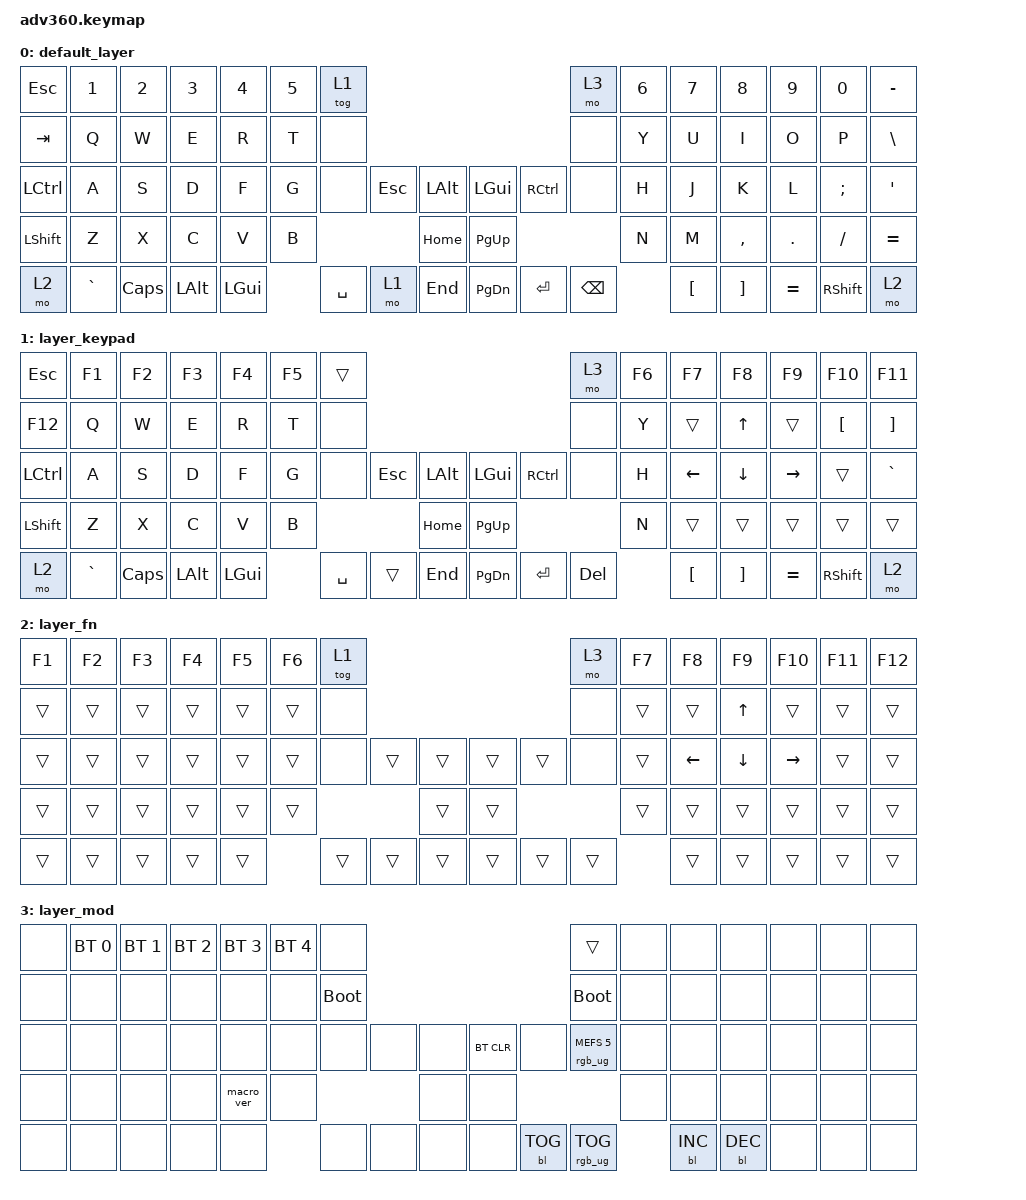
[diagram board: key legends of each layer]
/*
 * Copyright (c) 2020 The ZMK Contributors
 *
 * SPDX-License-Identifier: MIT
 */
/* THIS FILE WAS GENERATED!
 *
 * This file was generated automatically. You may or may not want to
 * edit it directly.
 */

#include <behaviors.dtsi>
#include <dt-bindings/zmk/backlight.h>
#include <dt-bindings/zmk/bt.h>
#include <dt-bindings/zmk/keys.h>
#include <dt-bindings/zmk/rgb.h>

/ {
    behaviors {
        #include "macros.dtsi"
    #include "version.dtsi"

        hm: homerow_mods {
            compatible = "zmk,behavior-hold-tap";
            label = "HOMEROW_MODS";
            #binding-cells = <2>;
            tapping-term-ms = <200>;
            quick_tap_ms = <175>;
            flavor = "tap-preferred";
            bindings = <&kp>, <&kp>;
        };
    };

    keymap {
        compatible = "zmk,keymap";

        default_layer {
            bindings = <
&kp ESCAPE  &kp N1     &kp N2    &kp N3        &kp N4    &kp N5  &tog 1                                                     &mo 3          &kp N6  &kp N7    &kp N8     &kp N9     &kp N0           &kp MINUS
&kp TAB     &kp Q      &kp W     &kp E         &kp R     &kp T   &none                                                      &none          &kp Y   &kp U     &kp I      &kp O      &kp P            &kp BSLH
&kp LCTRL   &kp A      &kp S     &kp D         &kp F     &kp G   &none      &kp ESCAPE  &kp LALT      &kp LGUI   &kp RCTRL  &none          &kp H   &kp J     &kp K      &kp L      &kp SEMI         &kp SQT
&kp LSHFT   &kp Z      &kp X     &kp C         &kp V     &kp B                          &kp HOME      &kp PG_UP                            &kp N   &kp M     &kp COMMA  &kp DOT    &kp FSLH         &kp EQUAL
&mo 2       &kp GRAVE  &kp CAPS  &kp LEFT_ALT  &kp LGUI          &kp SPACE  &mo 1       &kp END       &kp PG_DN  &kp ENTER  &kp BACKSPACE          &kp LBKT  &kp RBKT   &kp EQUAL  &kp RIGHT_SHIFT  &mo 2
            >;
        };

        layer_keypad {
            bindings = <
&kp ESC    &kp F1     &kp F2    &kp F3        &kp F4    &kp F5  &trans                                                  &mo 3    &kp F6  &kp F7          &kp F8          &kp F9           &kp F10           &kp F11
&kp F12    &kp Q      &kp W     &kp E         &kp R     &kp T   &none                                                   &none    &kp Y   &trans          &kp UP_ARROW    &trans           &kp LEFT_BRACKET  &kp RIGHT_BRACKET
&kp LCTRL  &kp A      &kp S     &kp D         &kp F     &kp G   &none      &kp ESC  &kp LALT      &kp LGUI   &kp RCTRL  &none    &kp H   &kp LEFT_ARROW  &kp DOWN_ARROW  &kp RIGHT_ARROW  &trans            &kp GRAVE
&kp LSHFT  &kp Z      &kp X     &kp C         &kp V     &kp B                       &kp HOME      &kp PG_UP                      &kp N   &trans          &trans          &trans           &trans            &trans
&mo 2      &kp GRAVE  &kp CAPS  &kp LEFT_ALT  &kp LGUI          &kp SPACE  &trans   &kp END       &kp PG_DN  &kp ENTER  &kp DEL          &kp LBKT        &kp RBKT        &kp EQUAL        &kp RIGHT_SHIFT   &mo 2
            >;
        };

        layer_fn {
            bindings = <
&kp F1  &kp F2  &kp F3  &kp F4  &kp F5  &kp F6  &tog 1                                      &mo 3   &kp F7  &kp F8          &kp F9          &kp F10          &kp F11  &kp F12
&trans  &trans  &trans  &trans  &trans  &trans  &none                                       &none   &trans  &trans          &kp UP_ARROW    &trans           &trans   &trans
&trans  &trans  &trans  &trans  &trans  &trans  &none   &trans  &trans      &trans  &trans  &none   &trans  &kp LEFT_ARROW  &kp DOWN_ARROW  &kp RIGHT_ARROW  &trans   &trans
&trans  &trans  &trans  &trans  &trans  &trans                  &trans      &trans                  &trans  &trans          &trans          &trans           &trans   &trans
&trans  &trans  &trans  &trans  &trans          &trans  &trans  &trans      &trans  &trans  &trans          &trans          &trans          &trans           &trans   &trans
            >;
        };

        layer_mod {
            bindings = <
&none  &bt BT_SEL 0  &bt BT_SEL 1  &bt BT_SEL 2  &bt BT_SEL 3  &bt BT_SEL 4  &none                                                  &trans                  &none  &none       &none       &none  &none  &none
&none  &none         &none         &none         &none         &none         &bootloader                                            &bootloader             &none  &none       &none       &none  &none  &none
&none  &none         &none         &none         &none         &none         &none        &none  &none      &bt BT_CLR  &none       &rgb_ug RGB_MEFS_CMD 5  &none  &none       &none       &none  &none  &none
&none  &none         &none         &none         &macro_ver    &none                             &none      &none                                           &none  &none       &none       &none  &none  &none
&none  &none         &none         &none         &none                       &none        &none  &none      &none       &bl BL_TOG  &rgb_ug RGB_TOG                &bl BL_INC  &bl BL_DEC  &none  &none  &none
            >;
        };
    };
};
